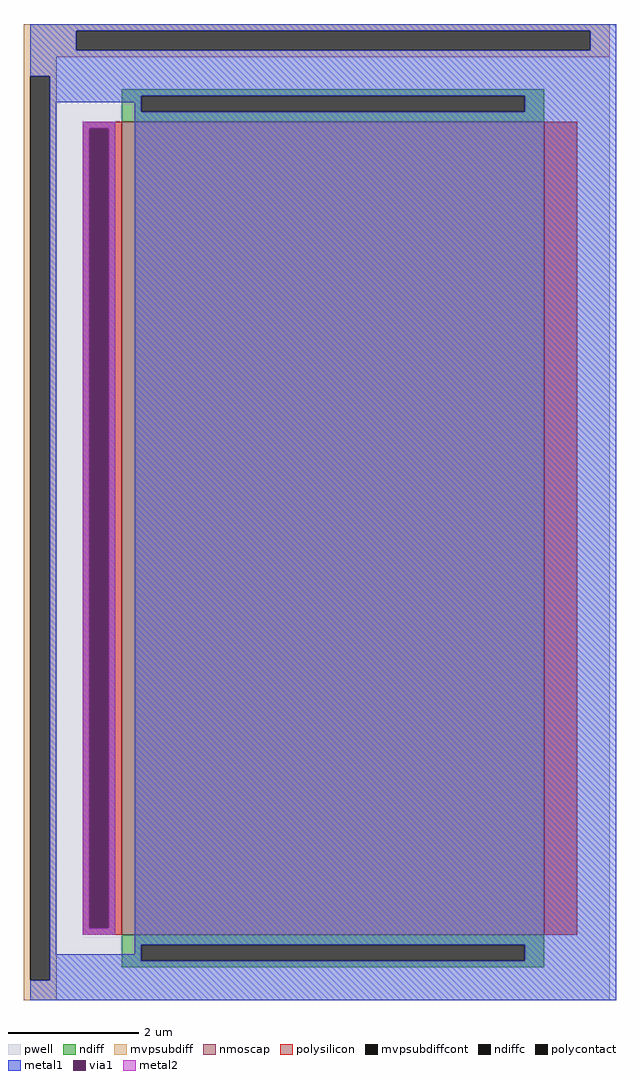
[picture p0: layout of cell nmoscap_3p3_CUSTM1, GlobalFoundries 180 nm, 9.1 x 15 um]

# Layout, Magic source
magic
tech gf180mcuD
<< pwell >>
rect -330 -80 -160 210
<< ndiff >>
rect -310 198 -180 200
rect -310 193 -304 198
rect -186 193 -180 198
rect -310 190 -180 193
rect -310 -63 -180 -60
rect -310 -68 -304 -63
rect -186 -68 -180 -63
rect -310 -70 -180 -68
<< ndiffc >>
rect -304 193 -186 198
rect -304 -68 -186 -63
<< mvpsubdiff >>
rect -340 218 -160 220
rect -340 212 -324 218
rect -166 212 -160 218
rect -340 210 -160 212
rect -340 204 -330 210
rect -340 -74 -338 204
rect -332 -74 -330 204
rect -340 -80 -330 -74
<< mvpsubdiffcont >>
rect -324 212 -166 218
rect -338 -74 -332 204
<< nmoscap >>
rect -310 -60 -180 190
<< polysilicon >>
rect -322 188 -310 190
rect -322 -58 -320 188
rect -314 -58 -310 188
rect -322 -60 -310 -58
rect -180 -60 -170 190
<< polycontact >>
rect -320 -58 -314 188
<< metal1 >>
rect -338 218 -158 220
rect -338 212 -324 218
rect -166 212 -158 218
rect -338 204 -158 212
rect -332 198 -158 204
rect -332 196 -304 198
rect -332 -66 -330 196
rect -306 193 -304 196
rect -186 193 -158 198
rect -322 188 -312 190
rect -322 -58 -320 188
rect -314 -58 -312 188
rect -322 -60 -312 -58
rect -306 -63 -158 193
rect -306 -66 -304 -63
rect -332 -68 -304 -66
rect -186 -68 -158 -63
rect -332 -74 -158 -68
rect -338 -80 -158 -74
<< via1 >>
rect -320 -58 -314 188
<< metal2 >>
rect -322 188 -312 190
rect -322 -58 -320 188
rect -314 -58 -312 188
rect -322 -60 -312 -58
<< properties >>
string gencell nmoscap_3p3
string library gf180mcu
string parameters w 6.5 l 12.5 m 1 nf 1 diffcov 100 polycov 100 guard 0 glc 0 grc 0 gtc 0 gbc 0 tbcov 100 rlcov 100 topc 1 botc 0 poverlap 0 doverlap 1 lmin 0.28 wmin 0.22 class mosfet full_metal 0 compatible {nmoscap_3p3 nmoscap_6p0}
<< end >>
